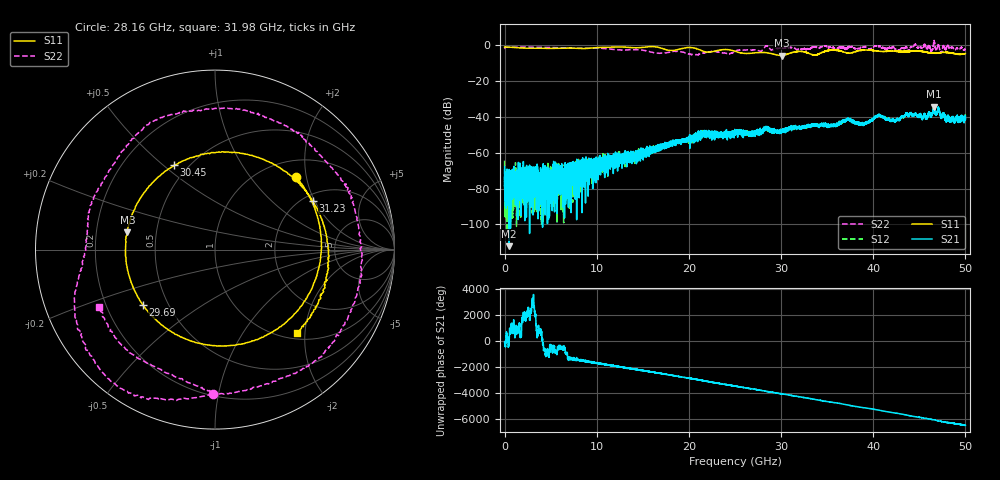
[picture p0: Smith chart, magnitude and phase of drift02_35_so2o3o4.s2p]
!Created with skrf (http://scikit-rf.org).
# Hz S RI R 50.0
!freq ReS11 ImS11 ReS21 ImS21 ReS12 ImS12 ReS22 ImS22
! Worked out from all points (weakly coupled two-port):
!   10001 points, 300 kHz to 50 GHz, reference 50 ohm
!   highest |S21| = -34.49 dB at 46.61 GHz (marker M1); lowest = -112.1 dB at 480.3 MHz (marker M2)
!   lowest |S11| = -6.1 dB at 30.05 GHz (marker M3), VSWR 2.98, Z = 16.9 + j4.33 ohm
!   |S11| at or under -10 dB: nowhere
!   |S22| runs from -5.7 to 2.3 dB; largest |S21 - S12| = 0.0036
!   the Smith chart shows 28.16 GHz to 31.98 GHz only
!   S11 on the Smith chart (normalised r, x): 28.16 GHz: 1.35, +1.74; 29.69 GHz: 0.36, -0.30; 30.45 GHz: 0.42, +0.54; 31.23 GHz: 2.23, +1.93; 31.98 GHz: 1.14, -1.82
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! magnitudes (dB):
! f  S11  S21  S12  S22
! 300 kHz  -1.3  -67.8  -64.5  -2.0
! 255.3 MHz  -1.4  -75.7  -74.0  -1.4
! 480.3 MHz  -1.4  -112.1  -80.2  -1.5
! 3.85 GHz  -2.0  -71.6  -79.4  -1.5
! 8.335 GHz  -2.2  -69.3  -71.2  -1.9
! 16.67 GHz  -1.5  -58.0  -57.1  -4.7
! 21.62 GHz  -3.8  -48.7  -49.8  -4.7
! 25 GHz  -3.7  -49.4  -49.6  -3.9
! 28.16 GHz  -4.3  -47.4  -47.2  -1.9
! 29.69 GHz  -5.9  -48.2  -48.1  -2.1
! 30.05 GHz  -6.1  -49.2  -48.3  -2.0
! 30.45 GHz  -5.6  -47.1  -46.9  -1.7
! 31.23 GHz  -4.3  -46.4  -46.0  -1.8
! 31.98 GHz  -3.7  -45.4  -45.8  -2.9
! 33.34 GHz  -5.5  -44.6  -45.0  -1.6
! 37.29 GHz  -4.8  -41.6  -41.1  -1.4
! 38.84 GHz  -3.1  -44.2  -44.0  -1.2
! 40.64 GHz  -3.6  -39.2  -39.1  -0.9
! 41.67 GHz  -3.6  -40.9  -40.7  -1.9
! 46.61 GHz  -4.8  -34.5  -34.6  2.1
! 48.13 GHz  -4.3  -39.3  -40.1  -0.6
! 50 GHz  -4.9  -41.3  -41.0  -2.7
